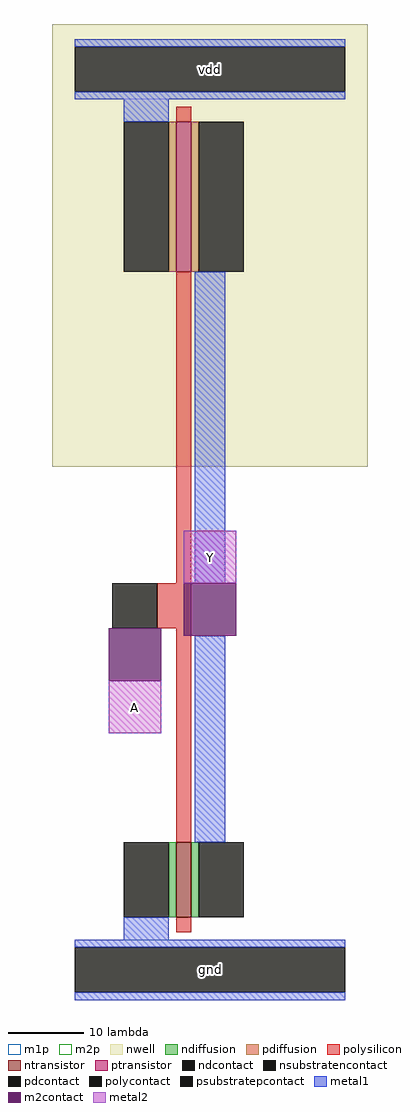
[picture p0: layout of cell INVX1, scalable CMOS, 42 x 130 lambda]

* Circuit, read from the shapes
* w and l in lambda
.subckt INVX1 A Y vdd gnd
M1 Y A gnd gnd nfet w=10 l=2
M2 Y A vdd vdd pfet w=20 l=2
.ends

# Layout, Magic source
magic
tech scmos
magscale 1 2
<< nwell >>
rect -12 134 72 252
<< ntransistor >>
rect 21 14 25 34
<< ptransistor >>
rect 21 186 25 226
<< ndiffusion >>
rect 19 14 21 34
rect 25 14 27 34
<< pdiffusion >>
rect 19 186 21 226
rect 25 186 27 226
<< ndcontact >>
rect 7 14 19 34
rect 27 14 39 34
<< pdcontact >>
rect 7 186 19 226
rect 27 186 39 226
<< psubstratepcontact >>
rect -6 -6 66 6
<< nsubstratencontact >>
rect -6 234 66 246
<< polysilicon >>
rect 21 226 25 230
rect 21 103 25 186
rect 16 91 25 103
rect 21 34 25 91
rect 21 10 25 14
<< polycontact >>
rect 4 91 16 103
<< metal1 >>
rect -6 246 66 248
rect -6 232 66 234
rect 7 226 19 232
rect 26 103 34 186
rect 26 34 34 89
rect 7 8 19 14
rect -6 6 66 8
rect -6 -8 66 -6
<< m2contact >>
rect 3 77 17 91
rect 23 89 37 103
<< metal2 >>
rect 23 103 37 117
rect 3 63 17 77
<< m1p >>
rect -6 232 66 248
rect -6 -8 66 8
<< m2p >>
rect 23 103 37 117
rect 3 63 17 77
<< labels >>
rlabel metal1 -6 -8 66 8 0 gnd
port 3 nsew ground bidirectional abutment
rlabel metal1 -6 232 66 248 0 vdd
port 2 nsew power bidirectional abutment
rlabel metal2 3 63 17 77 0 A
port 0 nsew signal input
rlabel metal2 23 103 37 117 0 Y
port 1 nsew signal output
<< properties >>
string FIXED_BBOX 0 0 60 240
string LEFclass CORE
string LEFsite core
string LEFsymmetry X Y
<< end >>
